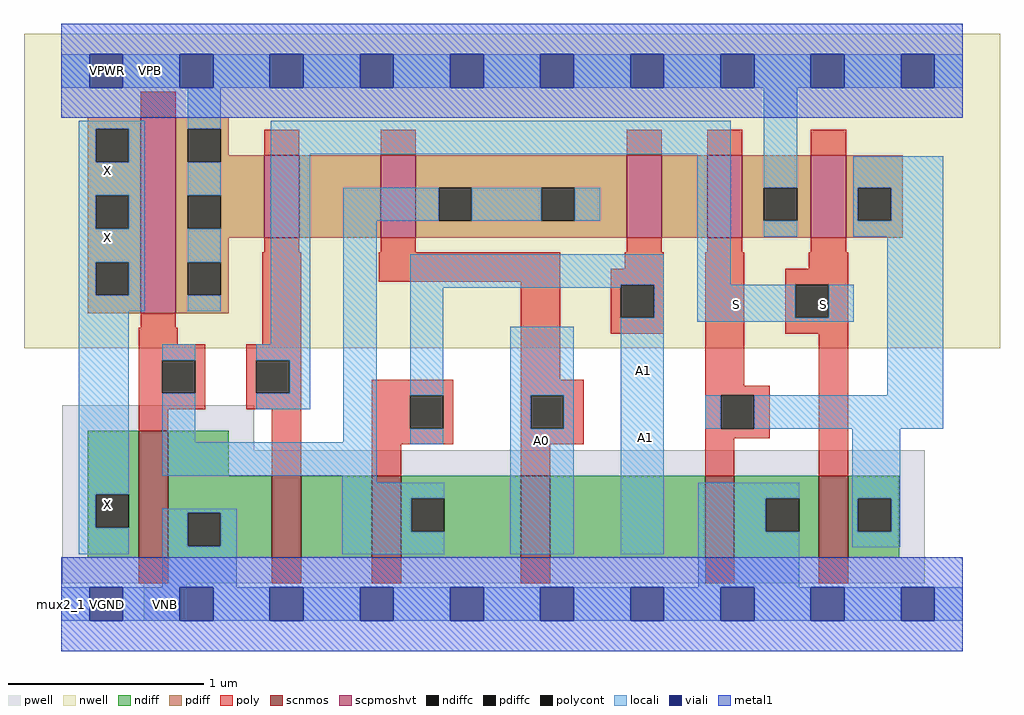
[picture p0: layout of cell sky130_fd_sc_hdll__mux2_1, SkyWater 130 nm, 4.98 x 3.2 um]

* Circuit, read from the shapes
.subckt sky130_fd_sc_hdll__mux2_1 A0 A1 S VGND VNB VPB VPWR X
XM1 VGND n1 X VNB sky130_fd_pr__nfet_01v8 w=0.65 l=0.15
XM2 n2 S VGND VNB sky130_fd_pr__nfet_01v8 w=0.42 l=0.15
XM3 n1 A1 n2 VNB sky130_fd_pr__nfet_01v8 w=0.42 l=0.15
XM4 n3 A0 n1 VNB sky130_fd_pr__nfet_01v8 w=0.42 l=0.15
XM5 VGND n4 n3 VNB sky130_fd_pr__nfet_01v8 w=0.42 l=0.15
XM6 n4 S VGND VNB sky130_fd_pr__nfet_01v8 w=0.42 l=0.15
XM7 VPWR n1 X VPB sky130_fd_pr__pfet_01v8_hvt w=1 l=0.18
XM8 n5 S VPWR VPB sky130_fd_pr__pfet_01v8_hvt w=0.42 l=0.18
XM9 n1 A0 n5 VPB sky130_fd_pr__pfet_01v8_hvt w=0.42 l=0.18
XM10 n6 A1 n1 VPB sky130_fd_pr__pfet_01v8_hvt w=0.42 l=0.18
XM11 VPWR n4 n6 VPB sky130_fd_pr__pfet_01v8_hvt w=0.42 l=0.18
XM12 n4 S VPWR VPB sky130_fd_pr__pfet_01v8_hvt w=0.42 l=0.18
.ends

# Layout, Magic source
magic
tech sky130A
magscale 1 2
<< nwell >>
rect -38 261 958 582
<< pwell >>
rect 1 157 197 203
rect 1 21 881 157
rect 84 -17 128 21
<< scnmos >>
rect 79 47 109 177
rect 215 47 245 131
rect 317 47 347 131
rect 469 47 499 131
rect 657 47 687 131
rect 773 47 803 131
<< scpmoshvt >>
rect 81 297 117 497
rect 207 374 243 458
rect 326 374 362 458
rect 577 374 613 458
rect 659 374 695 458
rect 765 374 801 458
<< ndiff >>
rect 27 112 79 177
rect 27 78 35 112
rect 69 78 79 112
rect 27 47 79 78
rect 109 131 171 177
rect 109 93 215 131
rect 109 59 129 93
rect 163 59 215 93
rect 109 47 215 59
rect 245 47 317 131
rect 347 108 469 131
rect 347 74 357 108
rect 391 74 469 108
rect 347 47 469 74
rect 499 47 657 131
rect 687 108 773 131
rect 687 74 719 108
rect 753 74 773 108
rect 687 47 773 74
rect 803 108 855 131
rect 803 74 813 108
rect 847 74 855 108
rect 803 47 855 74
<< pdiff >>
rect 27 485 81 497
rect 27 451 35 485
rect 69 451 81 485
rect 27 417 81 451
rect 27 383 35 417
rect 69 383 81 417
rect 27 349 81 383
rect 27 315 35 349
rect 69 315 81 349
rect 27 297 81 315
rect 117 485 171 497
rect 117 451 129 485
rect 163 458 171 485
rect 163 451 207 458
rect 117 417 207 451
rect 117 383 129 417
rect 163 383 207 417
rect 117 374 207 383
rect 243 374 326 458
rect 362 425 577 458
rect 362 391 385 425
rect 419 391 490 425
rect 524 391 577 425
rect 362 374 577 391
rect 613 374 659 458
rect 695 425 765 458
rect 695 391 717 425
rect 751 391 765 425
rect 695 374 765 391
rect 801 425 859 458
rect 801 391 813 425
rect 847 391 859 425
rect 801 374 859 391
rect 117 349 171 374
rect 117 315 129 349
rect 163 315 171 349
rect 117 297 171 315
<< ndiffc >>
rect 35 78 69 112
rect 129 59 163 93
rect 357 74 391 108
rect 719 74 753 108
rect 813 74 847 108
<< pdiffc >>
rect 35 451 69 485
rect 35 383 69 417
rect 35 315 69 349
rect 129 451 163 485
rect 129 383 163 417
rect 385 391 419 425
rect 490 391 524 425
rect 717 391 751 425
rect 813 391 847 425
rect 129 315 163 349
<< poly >>
rect 81 497 117 523
rect 207 458 243 484
rect 326 458 362 484
rect 577 458 613 484
rect 659 458 695 484
rect 765 458 801 484
rect 207 359 243 374
rect 326 359 362 374
rect 577 359 613 374
rect 659 359 695 374
rect 765 359 801 374
rect 81 282 117 297
rect 79 265 119 282
rect 205 265 245 359
rect 324 329 509 359
rect 575 342 615 359
rect 79 249 147 265
rect 79 215 103 249
rect 137 215 147 249
rect 79 199 147 215
rect 189 249 245 265
rect 189 215 199 249
rect 233 215 245 249
rect 469 229 509 329
rect 561 326 615 342
rect 561 292 571 326
rect 605 292 615 326
rect 561 276 615 292
rect 189 199 245 215
rect 79 177 109 199
rect 215 131 245 199
rect 317 213 400 229
rect 317 179 356 213
rect 390 179 400 213
rect 317 163 400 179
rect 469 213 533 229
rect 469 179 479 213
rect 513 179 533 213
rect 469 163 533 179
rect 657 223 697 359
rect 763 342 803 359
rect 739 326 803 342
rect 739 292 749 326
rect 783 292 803 326
rect 739 276 803 292
rect 657 213 723 223
rect 657 179 673 213
rect 707 179 723 213
rect 657 169 723 179
rect 317 131 347 163
rect 469 131 499 163
rect 657 131 687 169
rect 773 131 803 276
rect 79 21 109 47
rect 215 21 245 47
rect 317 21 347 47
rect 469 21 499 47
rect 657 21 687 47
rect 773 21 803 47
<< polycont >>
rect 103 215 137 249
rect 199 215 233 249
rect 571 292 605 326
rect 356 179 390 213
rect 479 179 513 213
rect 749 292 783 326
rect 673 179 707 213
<< locali >>
rect 0 527 29 561
rect 63 527 121 561
rect 155 527 213 561
rect 247 527 305 561
rect 339 527 397 561
rect 431 527 489 561
rect 523 527 581 561
rect 615 527 673 561
rect 707 527 765 561
rect 799 527 857 561
rect 891 527 920 561
rect 18 485 85 493
rect 18 451 35 485
rect 69 451 85 485
rect 18 417 85 451
rect 18 383 35 417
rect 69 383 85 417
rect 18 349 85 383
rect 18 315 35 349
rect 69 315 85 349
rect 18 299 85 315
rect 129 485 163 527
rect 129 417 163 451
rect 129 349 163 383
rect 129 299 163 315
rect 214 459 683 493
rect 18 112 69 299
rect 214 265 254 459
rect 103 249 137 265
rect 103 165 137 215
rect 199 249 254 265
rect 233 215 254 249
rect 199 199 254 215
rect 288 391 385 425
rect 419 391 490 425
rect 524 391 550 425
rect 288 165 322 391
rect 103 131 322 165
rect 356 326 615 357
rect 356 323 571 326
rect 356 213 390 323
rect 605 292 615 326
rect 356 163 390 179
rect 458 213 523 283
rect 458 179 479 213
rect 513 179 523 213
rect 18 78 35 112
rect 287 124 322 131
rect 287 108 391 124
rect 18 51 69 78
rect 103 93 179 97
rect 103 59 129 93
rect 163 59 179 93
rect 103 17 179 59
rect 287 74 357 108
rect 287 51 391 74
rect 458 51 523 179
rect 571 51 615 292
rect 649 326 683 459
rect 717 425 751 527
rect 717 375 751 391
rect 808 425 900 457
rect 808 391 813 425
rect 847 391 900 425
rect 808 375 900 391
rect 649 292 749 326
rect 783 292 809 326
rect 649 288 809 292
rect 843 213 900 375
rect 657 179 673 213
rect 707 179 900 213
rect 650 108 753 124
rect 650 74 719 108
rect 650 17 753 74
rect 807 108 856 179
rect 807 74 813 108
rect 847 74 856 108
rect 807 58 856 74
rect 0 -17 29 17
rect 63 -17 121 17
rect 155 -17 213 17
rect 247 -17 305 17
rect 339 -17 397 17
rect 431 -17 489 17
rect 523 -17 581 17
rect 615 -17 673 17
rect 707 -17 765 17
rect 799 -17 857 17
rect 891 -17 920 17
<< viali >>
rect 29 527 63 561
rect 121 527 155 561
rect 213 527 247 561
rect 305 527 339 561
rect 397 527 431 561
rect 489 527 523 561
rect 581 527 615 561
rect 673 527 707 561
rect 765 527 799 561
rect 857 527 891 561
rect 29 -17 63 17
rect 121 -17 155 17
rect 213 -17 247 17
rect 305 -17 339 17
rect 397 -17 431 17
rect 489 -17 523 17
rect 581 -17 615 17
rect 673 -17 707 17
rect 765 -17 799 17
rect 857 -17 891 17
<< metal1 >>
rect 0 561 920 592
rect 0 527 29 561
rect 63 527 121 561
rect 155 527 213 561
rect 247 527 305 561
rect 339 527 397 561
rect 431 527 489 561
rect 523 527 581 561
rect 615 527 673 561
rect 707 527 765 561
rect 799 527 857 561
rect 891 527 920 561
rect 0 496 920 527
rect 0 17 920 48
rect 0 -17 29 17
rect 63 -17 121 17
rect 155 -17 213 17
rect 247 -17 305 17
rect 339 -17 397 17
rect 431 -17 489 17
rect 523 -17 581 17
rect 615 -17 673 17
rect 707 -17 765 17
rect 799 -17 857 17
rect 891 -17 920 17
rect 0 -48 920 -17
<< labels >>
flabel metal1 s 30 -17 64 17 0 FreeSans 200 0 0 0 VGND
port 4 nsew ground bidirectional
flabel metal1 s 30 527 64 561 0 FreeSans 200 0 0 0 VPWR
port 7 nsew power bidirectional
flabel locali s 672 289 706 323 0 FreeSans 250 0 0 0 S
port 3 nsew signal input
flabel locali s 579 153 613 187 0 FreeSans 250 0 0 0 A1
port 2 nsew signal input
flabel locali s 577 221 611 255 0 FreeSans 250 0 0 0 A1
port 2 nsew signal input
flabel locali s 458 51 523 283 0 FreeSans 250 0 0 0 A0
port 1 nsew signal input
flabel locali s 30 85 64 119 0 FreeSans 250 0 0 0 X
port 8 nsew signal output
flabel locali s 30 357 64 391 0 FreeSans 250 0 0 0 X
port 8 nsew signal output
flabel locali s 30 425 64 459 0 FreeSans 250 0 0 0 X
port 8 nsew signal output
flabel locali s 761 289 795 323 0 FreeSans 250 0 0 0 S
port 3 nsew signal input
flabel nwell s 74 527 108 561 0 FreeSans 250 0 0 0 VPB
port 6 nsew power bidirectional
flabel pwell s 84 -17 128 17 0 FreeSans 250 0 0 0 VNB
port 5 nsew ground bidirectional
rlabel comment s 0 0 0 0 4 mux2_1
<< properties >>
string LEFsite unithd
string LEFclass CORE
string FIXED_BBOX 0 0 920 544
string GDS_FILE $PDKPATH/libs.ref/sky130_fd_sc_hdll/gds/sky130_fd_sc_hdll.gds
string LEFsymmetry X Y R90
string GDS_END 1057866
string GDS_START 1050974
string LEFproperties maskLayoutSubType "abstract" prCellType "standard" originalViewName "layout"
<< end >>
